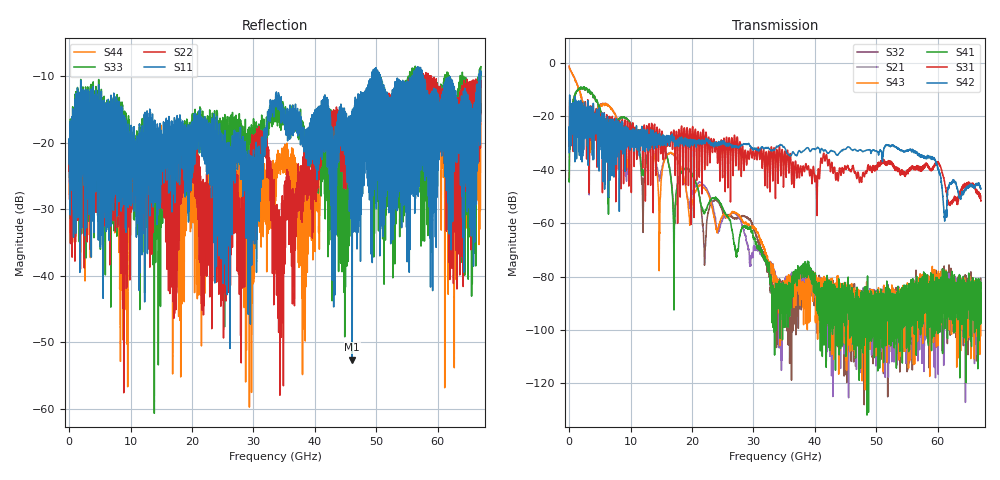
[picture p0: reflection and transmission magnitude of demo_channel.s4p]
# Hz S  dB  R 50
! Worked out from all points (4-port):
!   6700 points, 10 MHz to 67 GHz, reference 50 ohm
!   strongest paths, dB at 10 MHz, 16.76 GHz, 33.51 GHz, 50.26 GHz, 67 GHz:
!     S42: -28.7, -27.5, -32.1, -33.3, -47.2
!     S31: -30.4, -28.7, -38.8, -37.6, -51.6
!     S41: -44.3, -48.1, -89.0, -99.9, -97.4
!     S43: -1.2, -33.8, -85.2, -97.3, -102.1
!     S21: -1.2, -34.0, -79.3, -95.0, -87.5
!     S32: -44.4, -47.2, -89.4, -92.0, -85.7
!   lowest |S11| = -52.6 dB at 46.07 GHz (marker M1), VSWR 1.00, Z = 50.2 - j0.16 ohm
!   |S11| at or under -10 dB: start of sweep to 49.26 GHz; 50.62 GHz to 55.85 GHz (5.23 GHz wide, 9.82 % of centre); 57.62 GHz to 66.64 GHz (9.012 GHz wide, 14.5 % of centre)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
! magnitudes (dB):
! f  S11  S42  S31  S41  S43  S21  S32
! 10 MHz  -23.2  -28.7  -30.4  -44.3  -1.2  -1.2  -44.4
! 2.65 GHz  -20.9  -21.1  -14.7  -10.1  -20.4  -19.9  -10.1
! 6.39 GHz  -13.5  -28.6  -24.2  -49.7  -16.0  -15.9  -39.4
! 14.82 GHz  -17.9  -27.7  -28.2  -29.8  -50.8  -42.8  -29.8
! 22.02 GHz  -22.7  -29.6  -34.4  -56.3  -46.8  -45.9  -74.5
! 46.07 GHz  -52.6  -32.6  -39.0  -88.7  -93.4  -98.9  -92.4
! 67 GHz  -9.8  -47.2  -51.6  -97.4  -102.1  -87.5  -85.7
